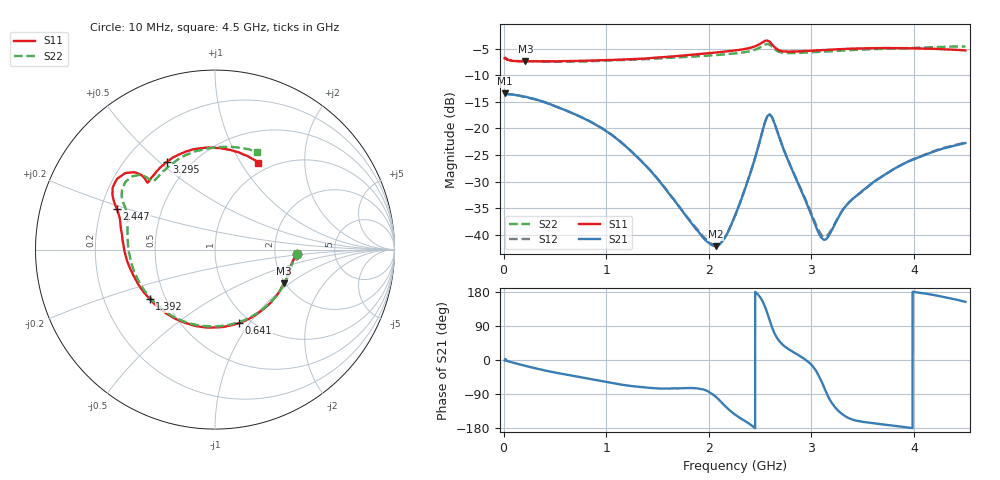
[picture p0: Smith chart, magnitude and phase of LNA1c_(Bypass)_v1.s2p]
! Created Tue Apr 16 19:42:11 2013
# ghz S ma R 50
! 2 Port Network Data from SP1.SP block
! freq  magS11  angS11  magS21  angS21  magS12  angS12  magS22  angS22
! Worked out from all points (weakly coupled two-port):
!   4491 points, 10 MHz to 4.5 GHz, reference 50 ohm
!   highest |S21| = -13.35 dB at 10 MHz (marker M1); lowest = -42.2 dB at 2.068 GHz (marker M2)
!   lowest |S11| = -7.4 dB at 213 MHz (marker M3), VSWR 2.49, Z = 98.2 - j45.3 ohm
!   |S11| at or under -10 dB: nowhere
!   |S22| runs from -7.4 to -4.1 dB; largest |S21 - S12| = 0.0018
!   S11 on the Smith chart (normalised r, x): 10 MHz: 2.67, -0.17; 641 MHz: 0.88, -0.89; 1.392 GHz: 0.41, -0.29; 2.447 GHz: 0.27, +0.18; 3.295 GHz: 0.37, +0.53; 4.5 GHz: 0.87, +1.20
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0.01  0.4576 -3.2  0.2149 -1.3  0.2145 -1.3  0.4594 -3.3
0.213  0.4269 -26.2  0.199 -15.6  0.1985 -15.6  0.4289 -25.9
0.641  0.4309 -72.1  0.1432 -40.0  0.1432 -39.6  0.4257 -73.0
0.759  0.4332 -84.1  0.1274 -45.8  0.1276 -45.5  0.4273 -85.2
1.073  0.4418 -114.9  0.08414 -61.7  0.08456 -61.5  0.4369 -115.8
1.392  0.4559 -142.8  0.04399 -72.8  0.04416 -72.8  0.449 -143.0
1.507  0.4655 -151.6  0.0329 -75.1  0.03311 -75.0  0.4558 -151.7
1.947  0.5051 -179.5  0.009303 -77.7  0.009577 -77.7  0.4815 179.8
2.068  0.5176 174.2  0.007803 -97.1  0.008042 -96.9  0.4904 173.0
2.154  0.5284 169.9  0.009307 -120.2  0.009359 -120.0  0.4981 168.6
2.255  0.5432 165.7  0.01507 -144.0  0.01509 -143.7  0.5081 163.7
2.447  0.5913 157.6  0.05142 -179.1  0.05121 -179.2  0.5491 155.2
2.553  0.669 147.4  0.1186 136.8  0.1185 136.7  0.6183 146.2
2.604  0.637 137.6  0.1318 95.4  0.132 95.3  0.6025 136.7
2.684  0.5436 134.9  0.08364 50.7  0.08406 50.5  0.5255 132.9
3.004  0.5391 128.9  0.01479 -13.9  0.01545 -14.9  0.5207 124.9
3.081  0.5443 126.4  0.009898 -46.5  0.01059 -46.1  0.5249 121.9
3.131  0.548 124.6  0.008993 -77.2  0.009539 -75.4  0.528 120.0
3.295  0.5579 118.6  0.01651 -141.7  0.0166 -139.6  0.54 114.0
3.752  0.5716 100.3  0.03869 -171.8  0.03864 -170.1  0.5642 95.4
4.174  0.5621 81.6  0.05977 172.3  0.06031 173.7  0.5814 79.3
4.5  0.5419 63.6  0.07287 153.4  0.07383 154.4  0.5904 66.8
